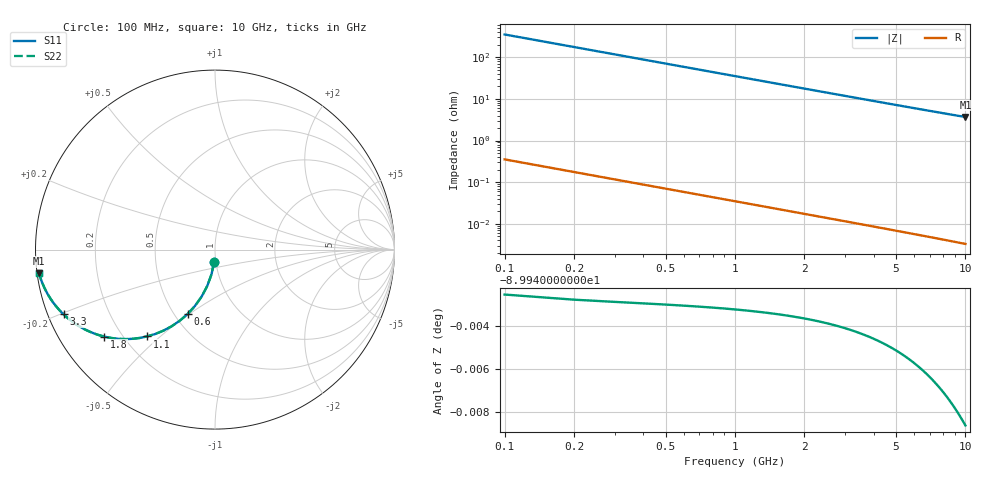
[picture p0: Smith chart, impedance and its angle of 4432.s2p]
# Hz S RI R 50.00
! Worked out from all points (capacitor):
!   100 points, 100 MHz to 10 GHz, reference 50 ohm
!   read as one part in shunt: C = 4.51 pF near 100 MHz
!   lowest |Z| = 3.69 ohm at 10 GHz (marker M1)
!   S11 on the Smith chart (normalised r, x): 100 MHz: 0.98, -0.14; 600 MHz: 0.58, -0.49; 1.1 GHz: 0.29, -0.45; 1.8 GHz: 0.13, -0.34; 3.3 GHz: 0.04, -0.20; 10 GHz: 0.01, -0.07
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1e8  -0.00505 -0.0704  0.9949 -0.0705  0.9949 -0.0705  -0.00505 -0.0704
2e8  -0.0198 -0.1387  0.9802 -0.139  0.9802 -0.139  -0.0198 -0.1387
3e8  -0.0434 -0.203  0.9566 -0.2034  0.9566 -0.2034  -0.0434 -0.203
4e8  -0.0745 -0.2619  0.9255 -0.2623  0.9255 -0.2623  -0.0745 -0.2619
5e8  -0.1116 -0.3141  0.8884 -0.3147  0.8884 -0.3147  -0.1116 -0.3141
6e8  -0.1531 -0.3593  0.8469 -0.36  0.8469 -0.36  -0.1531 -0.3593
7e8  -0.1974 -0.3971  0.8026 -0.398  0.8026 -0.398  -0.1974 -0.3971
8e8  -0.243 -0.4279  0.757 -0.4289  0.757 -0.4289  -0.243 -0.4279
9e8  -0.2888 -0.4522  0.7112 -0.4533  0.7112 -0.4533  -0.2888 -0.4522
1.1e9  -0.3773 -0.4836  0.6226 -0.4849  0.6226 -0.4849  -0.3773 -0.4836
1.4e9  -0.495 -0.4986  0.5049 -0.5003  0.5049 -0.5003  -0.495 -0.4986
1.8e9  -0.618 -0.4843  0.382 -0.4865  0.382 -0.4865  -0.618 -0.4843
2.1e9  -0.6874 -0.4618  0.3125 -0.4643  0.3125 -0.4643  -0.6874 -0.4618
2.5e9  -0.7568 -0.427  0.2432 -0.43  0.2432 -0.43  -0.7568 -0.427
2.9e9  -0.807 -0.3924  0.1929 -0.3959  0.1929 -0.3959  -0.807 -0.3924
3.3e9  -0.844 -0.3604  0.156 -0.3644  0.156 -0.3644  -0.844 -0.3604
3.4e9  -0.8516 -0.3529  0.1483 -0.357  0.1483 -0.357  -0.8516 -0.3529
4.2e9  -0.8973 -0.3004  0.1026 -0.3055  0.1026 -0.3055  -0.8973 -0.3004
5.1e9  -0.9279 -0.255  0.072 -0.2612  0.072 -0.2612  -0.9279 -0.255
6.7e9  -0.9569 -0.1984  0.043 -0.2066  0.043 -0.2066  -0.9569 -0.1984
8.4e9  -0.9722 -0.1586  0.0277 -0.169  0.0277 -0.169  -0.9722 -0.1586
1e10  -0.9803 -0.132  0.0196 -0.1446  0.0196 -0.1446  -0.9803 -0.132
